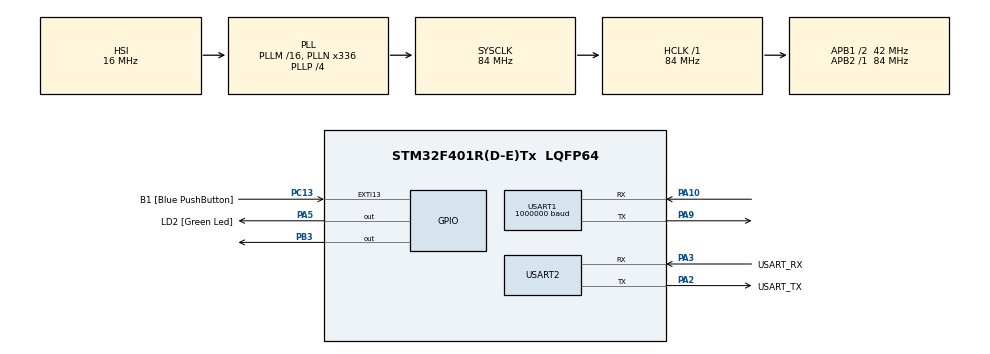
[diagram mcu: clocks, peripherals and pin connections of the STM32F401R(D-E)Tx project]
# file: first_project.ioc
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Mcu.Family=STM32F4
Mcu.Name=STM32F401R(D-E)Tx
Mcu.Package=LQFP64
NVIC.PriorityGroup=NVIC_PRIORITYGROUP_0
NVIC.USART2_IRQn=true\:0\:0\:false\:false\:true\:true\:true\:true
PA10.Mode=Asynchronous
PA10.Signal=USART1_RX
PA13.GPIO_Label=TMS
PA13.Mode=Serial_Wire
PA13.Signal=SYS_JTMS-SWDIO
PA14.GPIO_Label=TCK
PA14.Mode=Serial_Wire
PA14.Signal=SYS_JTCK-SWCLK
PA2.GPIO_Label=USART_TX
PA2.GPIO_Mode=GPIO_MODE_AF_PP
PA2.GPIO_PuPd=GPIO_NOPULL
PA2.GPIO_Speed=GPIO_SPEED_FREQ_LOW
PA2.Mode=Asynchronous
PA2.Signal=USART2_TX
PA3.GPIO_Label=USART_RX
PA3.GPIO_Mode=GPIO_MODE_AF_PP
PA3.GPIO_PuPd=GPIO_NOPULL
PA3.GPIO_Speed=GPIO_SPEED_FREQ_LOW
PA3.Mode=Asynchronous
PA3.Signal=USART2_RX
PA5.GPIO_Label=LD2 [Green Led]
PA5.GPIO_Mode=GPIO_MODE_OUTPUT_PP
PA5.GPIO_PuPd=GPIO_NOPULL
PA5.GPIO_Speed=GPIO_SPEED_FREQ_LOW
PA5.Signal=GPIO_Output
PA9.Mode=Asynchronous
PA9.Signal=USART1_TX
PB3.Signal=GPIO_Output
PC13-ANTI_TAMP.GPIO_Label=B1 [Blue PushButton]
PC13-ANTI_TAMP.GPIO_ModeDefaultEXTI=GPIO_MODE_IT_FALLING
PC13-ANTI_TAMP.GPIO_PuPd=GPIO_NOPULL
PC13-ANTI_TAMP.Signal=GPXTI13
PC14-OSC32_IN.Mode=LSE-External-Oscillator
PC14-OSC32_IN.Signal=RCC_OSC32_IN
PC15-OSC32_OUT.Mode=LSE-External-Oscillator
PC15-OSC32_OUT.Signal=RCC_OSC32_OUT
PH0\ -\ OSC_IN.Mode=HSE-External-Clock-Source
PH0\ -\ OSC_IN.Signal=RCC_OSC_IN
PH1\ -\ OSC_OUT.Mode=HSE-External-Clock-Source
PH1\ -\ OSC_OUT.Signal=RCC_OSC_OUT
ProjectManager.HeapSize=0x200
ProjectManager.StackSize=0x400
ProjectManager.TargetToolchain=STM32CubeIDE
RCC.48MHZClocksFreq_Value=48000000
RCC.AHBFreq_Value=84000000
RCC.APB1CLKDivider=RCC_HCLK_DIV2
RCC.APB1Freq_Value=42000000
RCC.APB1TimFreq_Value=84000000
RCC.APB2Freq_Value=84000000
RCC.APB2TimFreq_Value=84000000
RCC.CortexFreq_Value=84000000
RCC.HCLKFreq_Value=84000000
RCC.HSE_VALUE=8000000
RCC.HSI_VALUE=16000000
RCC.PLLN=336
RCC.PLLP=RCC_PLLP_DIV4
RCC.PLLQ=7
RCC.SYSCLKFreq_VALUE=84000000
RCC.SYSCLKSource=RCC_SYSCLKSOURCE_PLLCLK
RCC.VCOOutputFreq_Value=336000000
USART1.BaudRate=1000000
USART1.VirtualMode=VM_ASYNC
USART2.VirtualMode=VM_ASYNC
board=NUCLEO-F401RE

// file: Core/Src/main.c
/* USER CODE BEGIN Header */
/**
  ******************************************************************************
  * @file           : .c
  * @brief          :  program body
  ******************************************************************************
  * @attention
  *
  * Copyright (c) 2026 STMicroelectronics.
  * All rights reserved.
  *
  * This software is licensed under terms that can be found in the LICENSE file
  * in the root directory of this software component.
  * If no LICENSE file comes with this software, it is provided AS-IS.
  *
  ******************************************************************************
  */
/* USER CODE END Header */
#include "main.h"

/* USER CODE BEGIN Includes */
#include <stdio.h>
#include <string.h>
#include <stdlib.h>
#include <math.h>
/* USER CODE END Includes */

/* USER CODE BEGIN PD */
#define DXL_ID_1  1
#define DXL_ID_3  3
#define DXL_ID_5  5

#define DXL_ADDR_TORQUE_ENABLE   0x18
#define DXL_ADDR_GOAL_POSITION   0x1E
#define DXL_ADDR_MOVING_SPEED    0x20

// Measured neutral angles with enough travel in both directions.
#define ID1_NEUTRAL_DEG  125.10f
#define ID3_NEUTRAL_DEG  125.27f
#define ID5_NEUTRAL_DEG  123.51f

// Maximum platform command angle during normal ball control.
#define MAX_DELTA_DEG            5.0f

// Ignore small position errors near the target.
#define DEADZONE_X       8
#define DEADZONE_Y       8

// Change only the corresponding sign if an image axis is reversed.
#define SIGN_X           1.0f
#define SIGN_Y           1.0f

// Small fixed correction for the measured +X/-Y resting bias.
#define BALANCE_TRIM_X_DEG        0.25f
#define BALANCE_TRIM_Y_DEG       -0.30f

// Per-motor direction signs. Change only after a static direction test.
#define ID1_SIGN         1.0f
#define ID3_SIGN         1.0f
#define ID5_SIGN         1.0f

#define ID1_GAIN         1.20f
#define ID3_GAIN         1.25f
#define ID5_GAIN         1.45f
#define ID1_DOWN_GAIN    1.10f
#define ID3_DOWN_GAIN    0.98f

#define DXL_SPEED_VALUE          260
#define DXL_UPDATE_INTERVAL_MS   30
#define DXL_LOST_TIMEOUT_MS      500
#define DXL_SMOOTH_ALPHA         0.50f
#define DXL_MAX_STEP_DEG         0.60f
#define DXL_KICK_MAX_STEP_DEG    1.20f
#define DXL_CAPTURE_FAST_ALPHA   0.70f
#define DXL_CAPTURE_FAST_STEP_DEG 1.50f
#define DXL_STUCK_MAX_STEP_DEG   2.60f

// Normalize the virtual platform coordinates (radius 300) to about -1 to +1.
#define PD_ERROR_SCALE           300.0f
#define PD_KP_X                  7.2f
#define PD_KP_Y                  7.2f
#define PD_KD_X                  2.7f
#define PD_KD_Y                  2.1f
#define PD_DERIVATIVE_LIMIT      2500.0f
#define PD_D_FILTER_ALPHA        0.55f

#define PD_STATIC_THRESHOLD_X    80
#define PD_STATIC_THRESHOLD_Y    60
#define PD_STATIC_BOOST_X        1.2f
#define PD_STATIC_BOOST_Y        1.5f

#define PD_NEAR_ZONE              150
#define PD_NEAR_KP_SCALE          0.60f
#define PD_NEAR_KD_SCALE          1.40f
#define PD_NEAR_MAX_DELTA_DEG     4.8f
#define PD_FAR_MAX_DELTA_DEG      3.8f
#define PD_FAR_MED_SPEED          250.0f
#define PD_FAR_HIGH_SPEED         400.0f
#define PD_FAR_MED_KP_SCALE       0.80f
#define PD_FAR_HIGH_KP_SCALE      0.60f

#define PD_HOLD_ZONE              65
#define PD_HOLD_EXIT_ZONE         90
#define PD_HOLD_KP_SCALE          0.35f
#define PD_HOLD_KD_SCALE          0.90f
#define PD_HOLD_MAX_DELTA_DEG     2.0f
#define PD_HOLD_SPEED_DEADZONE    10.0f
#define PD_HOLD_DERIVATIVE_LIMIT  350.0f
#define PD_CAPTURE_FAST_ENTER_SPEED 95.0f
#define PD_CAPTURE_FAST_EXIT_SPEED  45.0f
#define PD_ZONE_FAST_BRAKE_SPEED  100.0f
#define PD_ZONE_APPROACH_BRAKE_SPEED 60.0f

#define PD_BRAKE_ZONE             235.0f
#define PD_BRAKE_MIN_SPEED        55.0f
#define PD_EARLY_BRAKE_SPEED      150.0f
#define PD_BRAKE_KP_SCALE         0.28f
#define PD_BRAKE_KD_SCALE         2.45f
#define PD_BRAKE_MAX_DELTA_DEG    5.0f
#define PD_ESCAPE_SPEED           140.0f
#define PD_ESCAPE_KP_SCALE        0.38f
#define PD_ESCAPE_KD_SCALE        1.45f
#define PD_ESCAPE_MAX_DELTA_DEG   4.4f
#define PD_CAPTURE_BRAKE_KP_SCALE 0.12f
#define PD_CAPTURE_BRAKE_KD_SCALE 2.05f
#define PD_CAPTURE_BRAKE_MAX_DEG  4.0f
#define STUCK_TIME_MS             900U
#define STUCK_SPEED_THRESHOLD     45.0f
#define STUCK_MOVE_THRESHOLD      14.0f
// Start stuck detection immediately outside the target zone.
#define STUCK_MIN_ERROR           58.0f
#define STUCK_NEAR_ERROR          85.0f
#define STUCK_FAR_ERROR           150.0f
#define STUCK_KICK_NEAR_DEG       7.6f
#define STUCK_KICK_DEG            8.0f
#define STUCK_KICK_FAR_DEG        8.8f
#define STUCK_MAX_DELTA_DEG       8.8f
#define STUCK_KICK_MS             350U
#define STUCK_COOLDOWN_MS         1000U
#define STUCK_RETURN_MS           220U

#define DEG_TO_RAD              0.01745329252f
#define RAD_TO_DEG              57.295779513f
#define IK_BASE_RADIUS_MM       58.0f
#define IK_PLATFORM_HEIGHT_MM   105.0f
#define IK_PLATFORM_RADIUS_MM   75.0f
#define IK_ARM_LENGTH_MM        83.0f
#define IK_ROD_LENGTH_MM        88.0f
#define IK_OUTPUT_SIGN         -1.0f
#define IK_ID1_ANGLE_DEG       150.0f
#define IK_ID3_ANGLE_DEG       -90.0f
#define IK_ID5_ANGLE_DEG        30.0f

/* USER CODE END PD */

UART_HandleTypeDef huart1;
UART_HandleTypeDef huart2;

/* USER CODE BEGIN PV */

float smooth_deg1 = ID1_NEUTRAL_DEG;
float smooth_deg3 = ID3_NEUTRAL_DEG;
float smooth_deg5 = ID5_NEUTRAL_DEG;

uint8_t rx_byte;              // One byte received from UART2.
char rx_buffer[50];           // Buffer for one PC command line.
uint8_t rx_index = 0;         // Current receive-buffer index.

volatile int ball_ex = 0;
volatile int ball_ey = 0;
volatile int ball_valid = 0;

volatile uint8_t new_data_flag = 0;

uint16_t dxl_pos1 = 0;
uint16_t dxl_pos3 = 0;
uint16_t dxl_pos5 = 0;

float target_deg1 = ID1_NEUTRAL_DEG;
float target_deg3 = ID3_NEUTRAL_DEG;
float target_deg5 = ID5_NEUTRAL_DEG;

uint32_t last_dxl_update_time = 0;
uint32_t last_rx_time = 0;
uint32_t last_log_time = 0;

int pd_prev_ex = 0;
int pd_prev_ey = 0;
uint32_t pd_prev_time = 0;
uint8_t pd_has_prev = 0;
uint8_t pd_d_filter_ready = 0;
float pd_filtered_dex_dt = 0.0f;
float pd_filtered_dey_dt = 0.0f;
uint8_t pd_capture_active = 0;
uint8_t pd_capture_fast_motion = 0;

uint8_t stuck_has_ref = 0;
int stuck_ref_ex = 0;
int stuck_ref_ey = 0;
uint32_t stuck_ref_time = 0;
uint32_t stuck_slow_start_time = 0;
uint32_t stuck_kick_until = 0;
uint32_t stuck_return_until = 0;
uint32_t stuck_cooldown_until = 0;
uint8_t stuck_kick_active = 0;

int dbg_cmd_x10 = 0;
int dbg_cmd_y10 = 0;
int dbg_d1_10 = 0;
int dbg_d3_10 = 0;
int dbg_d5_10 = 0;
int dbg_speed = 0;
int dbg_approach_speed = 0;
int dbg_p_x10 = 0;
int dbg_p_y10 = 0;
int dbg_d_x10 = 0;
int dbg_d_y10 = 0;
int dbg_cmd_limit_x10 = 0;
int dbg_p_scale_percent = 100;
uint8_t dbg_control_state = 0;
uint8_t dbg_cmd_saturated = 0;

/* USER CODE END PV */

void SystemClock_Config(void);
static void MX_GPIO_Init(void);
static void MX_USART2_UART_Init(void);
static void MX_USART1_UART_Init(void);

/* USER CODE BEGIN 0 */
float clamp_float(float value, float min_value, float max_value)
{
    if (value < min_value) return min_value;
    if (value > max_value) return max_value;
    return value;
}

uint8_t limit_vector_magnitude(float *x, float *y, float max_magnitude)
{
    float magnitude = sqrtf((*x * *x) + (*y * *y));
    if (magnitude <= max_magnitude || magnitude < 0.0001f)
    {
        return 0;
    }

    float scale = max_magnitude / magnitude;
    *x *= scale;
    *y *= scale;
    return 1;
}

uint16_t deg_to_dxl_pos(float deg)
{
    deg = clamp_float(deg, 0.0f, 300.0f);
    return (uint16_t)((deg / 300.0f) * 1023.0f + 0.5f);
}

float IK_SolveArmAngleDeg(float radial_mm, float z_mm)
{
    float r = sqrtf(radial_mm * radial_mm + z_mm * z_mm);
    if (r < 1.0f) return 0.0f;

    float c = (radial_mm * radial_mm + z_mm * z_mm +
               IK_ARM_LENGTH_MM * IK_ARM_LENGTH_MM -
               IK_ROD_LENGTH_MM * IK_ROD_LENGTH_MM) / (2.0f * IK_ARM_LENGTH_MM);
    float ratio = clamp_float(c / r, -1.0f, 1.0f);
    float alpha = atan2f(z_mm, radial_mm);
    float beta = acosf(ratio);

    return (alpha - beta) * RAD_TO_DEG;
}

float IK_LegDeltaDeg(float leg_angle_deg, float pitch_deg, float roll_deg)
{
    float leg_rad = leg_angle_deg * DEG_TO_RAD;
    float ux = cosf(leg_rad);
    float uy = sinf(leg_rad);

    float px = IK_PLATFORM_RADIUS_MM * ux;
    float py = IK_PLATFORM_RADIUS_MM * uy;

    float roll = roll_deg * DEG_TO_RAD;
    float pitch = pitch_deg * DEG_TO_RAD;
    float cr = cosf(roll);
    float sr = sinf(roll);
    float cp = cosf(pitch);
    float sp = sinf(pitch);

    float x1 = px;
    float y1 = cr * py;
    float z1 = sr * py;

    float x2 = cp * x1 + sp * z1;
    float y2 = y1;
    float z2 = -sp * x1 + cp * z1;

    float bx = IK_BASE_RADIUS_MM * ux;
    float by = IK_BASE_RADIUS_MM * uy;
    float radial = (x2 - bx) * ux + (y2 - by) * uy;
    float z = IK_PLATFORM_HEIGHT_MM + z2;

    float home_radial = IK_PLATFORM_RADIUS_MM - IK_BASE_RADIUS_MM;
    float home_angle = IK_SolveArmAngleDeg(home_radial, IK_PLATFORM_HEIGHT_MM);
    float target_angle = IK_SolveArmAngleDeg(radial, z);

    return IK_OUTPUT_SIGN * (target_angle - home_angle);
}

void IK_ComputeMotorDeltas(float cmd_x_deg, float cmd_y_deg, float *d1, float *d3, float *d5)
{
    float pitch_deg = -cmd_x_deg;
    float roll_deg = cmd_y_deg;

    *d1 = IK_LegDeltaDeg(IK_ID1_ANGLE_DEG, pitch_deg, roll_deg);
    *d3 = IK_LegDeltaDeg(IK_ID3_ANGLE_DEG, pitch_deg, roll_deg);
    *d5 = IK_LegDeltaDeg(IK_ID5_ANGLE_DEG, pitch_deg, roll_deg);
}

void DXL_SendPacket(uint8_t *packet, uint8_t length)
{
    // PB3 controls the 74HC126 bus direction.
    // HIGH: STM32 transmits to the Dynamixel bus.
    HAL_GPIO_WritePin(GPIOB, GPIO_PIN_3, GPIO_PIN_SET);
    HAL_Delay(1);

    HAL_UART_Transmit(&huart1, packet, length, 100);

    HAL_Delay(1);

    // LOW: return the bus to receive mode.
    HAL_GPIO_WritePin(GPIOB, GPIO_PIN_3, GPIO_PIN_RESET);
    HAL_Delay(1);
}

void DXL_WriteByte(uint8_t id, uint8_t address, uint8_t value)
{
    uint8_t packet[8];

    uint8_t length = 4;   // Protocol length field: parameter count + 2.
    uint8_t instruction = 0x03; // WRITE

    packet[0] = 0xFF;
    packet[1] = 0xFF;
    packet[2] = id;
    packet[3] = length;
    packet[4] = instruction;
    packet[5] = address;
    packet[6] = value;

    uint8_t sum = id + length + instruction + address + value;
    packet[7] = ~sum;

    DXL_SendPacket(packet, 8);
}

void DXL_WriteWord(uint8_t id, uint8_t address, uint16_t value)
{
    uint8_t packet[9];

    uint8_t length = 5;
    uint8_t instruction = 0x03; // WRITE
    uint8_t value_l = value & 0xFF;
    uint8_t value_h = (value >> 8) & 0xFF;

    packet[0] = 0xFF;
    packet[1] = 0xFF;
    packet[2] = id;
    packet[3] = length;
    packet[4] = instruction;
    packet[5] = address;
    packet[6] = value_l;
    packet[7] = value_h;

    uint8_t sum = id + length + instruction + address + value_l + value_h;
    packet[8] = ~sum;

    DXL_SendPacket(packet, 9);
}

void DXL_TorqueEnable(uint8_t id)
{
    DXL_WriteByte(id, DXL_ADDR_TORQUE_ENABLE, 1);
}

void DXL_SetSpeed(uint8_t id, uint16_t speed)
{
    // AX-12A moving-speed range is 0 to 1023.
    // DXL_SPEED_VALUE limits the commanded motor speed.
    DXL_WriteWord(id, DXL_ADDR_MOVING_SPEED, speed);
}

void DXL_SetGoalPosition(uint8_t id, uint16_t position)
{
    if (position > 1023) position = 1023;
    DXL_WriteWord(id, DXL_ADDR_GOAL_POSITION, position);
}

void DXL_MoveToNeutral(void)
{
    target_deg1 = ID1_NEUTRAL_DEG;
    target_deg3 = ID3_NEUTRAL_DEG;
    target_deg5 = ID5_NEUTRAL_DEG;

    smooth_deg1 = target_deg1;
    smooth_deg3 = target_deg3;
    smooth_deg5 = target_deg5;

    dxl_pos1 = deg_to_dxl_pos(target_deg1);
    dxl_pos3 = deg_to_dxl_pos(target_deg3);
    dxl_pos5 = deg_to_dxl_pos(target_deg5);

    DXL_SetGoalPosition(DXL_ID_1, dxl_pos1);
    DXL_SetGoalPosition(DXL_ID_3, dxl_pos3);
    DXL_SetGoalPosition(DXL_ID_5, dxl_pos5);

    pd_has_prev = 0;
    pd_d_filter_ready = 0;
    pd_filtered_dex_dt = 0.0f;
    pd_filtered_dey_dt = 0.0f;
    pd_capture_active = 0;
    pd_capture_fast_motion = 0;
    pd_prev_ex = 0;
    pd_prev_ey = 0;
    pd_prev_time = HAL_GetTick();
}

void DXL_ControlFromBall(int ex, int ey, int valid)
{
    float cmd_x = 0.0f;
    float cmd_y = 0.0f;
    uint32_t now = HAL_GetTick();

    if (valid == 1)
    {
        int p_ex = ex;
        int p_ey = ey;
        float dt = (float)DXL_UPDATE_INTERVAL_MS / 1000.0f;
        float dex_dt = 0.0f;
        float dey_dt = 0.0f;

        if (p_ex > -DEADZONE_X && p_ex < DEADZONE_X) p_ex = 0;
        if (p_ey > -DEADZONE_Y && p_ey < DEADZONE_Y) p_ey = 0;

        if (pd_has_prev == 1)
        {
            uint32_t elapsed_ms = now - pd_prev_time;
            if (elapsed_ms > 0)
            {
                dt = (float)elapsed_ms / 1000.0f;
            }

            float raw_dex_dt = ((float)(ex - pd_prev_ex)) / dt;
            float raw_dey_dt = ((float)(ey - pd_prev_ey)) / dt;
            raw_dex_dt = clamp_float(raw_dex_dt, -PD_DERIVATIVE_LIMIT, PD_DERIVATIVE_LIMIT);
            raw_dey_dt = clamp_float(raw_dey_dt, -PD_DERIVATIVE_LIMIT, PD_DERIVATIVE_LIMIT);

            if (pd_d_filter_ready == 0)
            {
                pd_filtered_dex_dt = raw_dex_dt;
                pd_filtered_dey_dt = raw_dey_dt;
                pd_d_filter_ready = 1;
            }
            else
            {
                pd_filtered_dex_dt += PD_D_FILTER_ALPHA *
                                      (raw_dex_dt - pd_filtered_dex_dt);
                pd_filtered_dey_dt += PD_D_FILTER_ALPHA *
                                      (raw_dey_dt - pd_filtered_dey_dt);
            }

            dex_dt = pd_filtered_dex_dt;
            dey_dt = pd_filtered_dey_dt;
        }

        pd_prev_ex = ex;
        pd_prev_ey = ey;
        pd_prev_time = now;
        pd_has_prev = 1;

        float ball_speed = sqrtf(dex_dt * dex_dt + dey_dt * dey_dt);
        float error_radius = sqrtf((float)p_ex * (float)p_ex + (float)p_ey * (float)p_ey);
        float radial_speed = 0.0f;
        if (error_radius > 1.0f)
        {
            radial_speed = ((float)p_ex * dex_dt + (float)p_ey * dey_dt) / error_radius;
        }
        float approach_speed = -radial_speed;
        float kp_scale = 1.0f;
        float kd_scale = 1.0f;
        float cmd_limit = PD_FAR_MAX_DELTA_DEG;
        float far_speed_kp_scale = 1.0f;
        uint8_t near_target = 0;
        dbg_control_state = 0;
        if ((p_ex > -PD_NEAR_ZONE && p_ex < PD_NEAR_ZONE) &&
            (p_ey > -PD_NEAR_ZONE && p_ey < PD_NEAR_ZONE))
        {
            near_target = 1;
            dbg_control_state = 1;
            kp_scale = PD_NEAR_KP_SCALE;
            kd_scale = PD_NEAR_KD_SCALE;
            cmd_limit = PD_NEAR_MAX_DELTA_DEG;
        }

        if ((error_radius <= PD_BRAKE_ZONE &&
             approach_speed >= PD_BRAKE_MIN_SPEED) ||
            approach_speed >= PD_EARLY_BRAKE_SPEED)
        {
            near_target = 1;
            dbg_control_state = 2;
            kp_scale = PD_BRAKE_KP_SCALE;
            kd_scale = PD_BRAKE_KD_SCALE;
            cmd_limit = PD_BRAKE_MAX_DELTA_DEG;
        }
        else if ((ball_speed >= PD_ZONE_FAST_BRAKE_SPEED) &&
                 (approach_speed <= -PD_ESCAPE_SPEED))
        {
            near_target = 1;
            dbg_control_state = 2;
            kp_scale = PD_ESCAPE_KP_SCALE;
            kd_scale = PD_ESCAPE_KD_SCALE;
            cmd_limit = PD_ESCAPE_MAX_DELTA_DEG;
        }

        int error_r2 = p_ex * p_ex + p_ey * p_ey;
        if (pd_capture_active != 0)
        {
            if (error_r2 >= (PD_HOLD_EXIT_ZONE * PD_HOLD_EXIT_ZONE))
            {
                pd_capture_active = 0;
            }
        }
        else if (error_r2 <= (PD_HOLD_ZONE * PD_HOLD_ZONE))
        {
            pd_capture_active = 1;
        }

        if (pd_capture_active != 0)
        {
            if (pd_capture_fast_motion != 0)
            {
                if (ball_speed <= PD_CAPTURE_FAST_EXIT_SPEED)
                {
                    pd_capture_fast_motion = 0;
                }
            }
            else if (ball_speed >= PD_CAPTURE_FAST_ENTER_SPEED)
            {
                pd_capture_fast_motion = 1;
            }

            near_target = 1;
            if (approach_speed >= PD_ZONE_APPROACH_BRAKE_SPEED ||
                ball_speed >= PD_ZONE_FAST_BRAKE_SPEED ||
                pd_capture_fast_motion != 0)
            {
                dbg_control_state = 3;
                kp_scale = PD_CAPTURE_BRAKE_KP_SCALE;
                kd_scale = PD_CAPTURE_BRAKE_KD_SCALE;
                cmd_limit = PD_CAPTURE_BRAKE_MAX_DEG;
            }
            else if (error_r2 <= (PD_HOLD_ZONE * PD_HOLD_ZONE))
            {
                dbg_control_state = 4;
                kp_scale = PD_HOLD_KP_SCALE;
                kd_scale = PD_HOLD_KD_SCALE;
                cmd_limit = PD_HOLD_MAX_DELTA_DEG;
            }
            dex_dt = clamp_float(dex_dt, -PD_HOLD_DERIVATIVE_LIMIT, PD_HOLD_DERIVATIVE_LIMIT);
            dey_dt = clamp_float(dey_dt, -PD_HOLD_DERIVATIVE_LIMIT, PD_HOLD_DERIVATIVE_LIMIT);
            if (ball_speed < PD_HOLD_SPEED_DEADZONE)
            {
                dex_dt = 0.0f;
                dey_dt = 0.0f;
            }
        }
        else
        {
            pd_capture_fast_motion = 0;
        }

        // Reduce only the far-field P drive when the ball already has momentum.
        // D damping keeps the full 3.8-degree far-field command limit.
        if (near_target == 0)
        {
            if (ball_speed >= PD_FAR_HIGH_SPEED)
            {
                far_speed_kp_scale = PD_FAR_HIGH_KP_SCALE;
            }
            else if (ball_speed >= PD_FAR_MED_SPEED)
            {
                far_speed_kp_scale = PD_FAR_MED_KP_SCALE;
            }
        }

        float norm_ex = (float)p_ex / PD_ERROR_SCALE;
        float norm_ey = (float)p_ey / PD_ERROR_SCALE;
        float norm_dex_dt = dex_dt / PD_ERROR_SCALE;
        float norm_dey_dt = dey_dt / PD_ERROR_SCALE;
        float p_term_x = (PD_KP_X * kp_scale * far_speed_kp_scale) * norm_ex;
        float p_term_y = (PD_KP_Y * kp_scale * far_speed_kp_scale) * norm_ey;
        float d_term_x = (PD_KD_X * kd_scale) * norm_dex_dt;
        float d_term_y = (PD_KD_Y * kd_scale) * norm_dey_dt;

        cmd_x = p_term_x + d_term_x;
        cmd_y = p_term_y + d_term_y;
        dbg_p_x10 = (int)(p_term_x * 10.0f);
        dbg_p_y10 = (int)(p_term_y * 10.0f);
        dbg_d_x10 = (int)(d_term_x * 10.0f);
        dbg_d_y10 = (int)(d_term_y * 10.0f);

        if (near_target == 0 && ball_speed < PD_FAR_MED_SPEED)
        {
            if (p_ex > PD_STATIC_THRESHOLD_X) cmd_x += PD_STATIC_BOOST_X;
            else if (p_ex < -PD_STATIC_THRESHOLD_X) cmd_x -= PD_STATIC_BOOST_X;

            if (p_ey > PD_STATIC_THRESHOLD_Y) cmd_y += PD_STATIC_BOOST_Y;
            else if (p_ey < -PD_STATIC_THRESHOLD_Y) cmd_y -= PD_STATIC_BOOST_Y;
        }

        dbg_cmd_saturated = limit_vector_magnitude(&cmd_x, &cmd_y, cmd_limit);
        dbg_speed = (int)ball_speed;
        dbg_approach_speed = (int)approach_speed;
        dbg_cmd_limit_x10 = (int)(cmd_limit * 10.0f);
        dbg_p_scale_percent = (int)(far_speed_kp_scale * 100.0f);

        cmd_x *= SIGN_X;
        cmd_y *= SIGN_Y;

        cmd_x += BALANCE_TRIM_X_DEG;
        cmd_y += BALANCE_TRIM_Y_DEG;
        limit_vector_magnitude(&cmd_x, &cmd_y, MAX_DELTA_DEG);
        dbg_cmd_x10 = (int)(cmd_x * 10.0f);
        dbg_cmd_y10 = (int)(cmd_y * 10.0f);

        float d1 = 0.0f;
        float d3 = 0.0f;
        float d5 = 0.0f;
        IK_ComputeMotorDeltas(cmd_x, cmd_y, &d1, &d3, &d5);

        uint8_t outside_hold_zone = ((float)(ex * ex + ey * ey) > (STUCK_MIN_ERROR * STUCK_MIN_ERROR));
        stuck_kick_active = (now < stuck_kick_until) ? 1 : 0;

        if (outside_hold_zone != 0)
        {
            float ref_move = sqrtf((float)((ex - stuck_ref_ex) * (ex - stuck_ref_ex) +
                                           (ey - stuck_ref_ey) * (ey - stuck_ref_ey)));
            uint8_t slow_outside = (ball_speed <= STUCK_SPEED_THRESHOLD) ? 1 : 0;
            if (stuck_has_ref == 0)
            {
                stuck_has_ref = 1;
                stuck_ref_ex = ex;
                stuck_ref_ey = ey;
                stuck_ref_time = now;
                stuck_slow_start_time = slow_outside ? now : 0;
            }
            else if ((ref_move > STUCK_MOVE_THRESHOLD) &&
                     (slow_outside == 0))
            {
                stuck_ref_ex = ex;
                stuck_ref_ey = ey;
                stuck_ref_time = now;
                stuck_slow_start_time = 0;
                stuck_kick_until = 0;
                stuck_kick_active = 0;
            }
            else if (slow_outside != 0)
            {
                if (stuck_slow_start_time == 0)
                {
                    stuck_slow_start_time = now;
                }
                if (((now - stuck_slow_start_time >= STUCK_TIME_MS) ||
                     (now - stuck_ref_time >= STUCK_TIME_MS)) &&
                    (now >= stuck_cooldown_until))
                {
                    stuck_kick_until = now + STUCK_KICK_MS;
                    stuck_return_until = stuck_kick_until + STUCK_RETURN_MS;
                    stuck_cooldown_until = stuck_return_until + STUCK_COOLDOWN_MS;
                    stuck_kick_active = 1;
                    stuck_ref_ex = ex;
                    stuck_ref_ey = ey;
                    stuck_ref_time = now;
                    stuck_slow_start_time = now;
                }
            }
            else if ((now - stuck_ref_time >= STUCK_TIME_MS) &&
                     (now >= stuck_cooldown_until))
            {
                stuck_kick_until = now + STUCK_KICK_MS;
                stuck_return_until = stuck_kick_until + STUCK_RETURN_MS;
                stuck_cooldown_until = stuck_return_until + STUCK_COOLDOWN_MS;
                stuck_kick_active = 1;
                stuck_ref_ex = ex;
                stuck_ref_ey = ey;
                stuck_ref_time = now;
                stuck_slow_start_time = 0;
            }
        }
        else
        {
            stuck_has_ref = 0;
            stuck_slow_start_time = 0;
            stuck_kick_active = 0;
            stuck_kick_until = 0;
        }

        if (stuck_kick_active != 0)
        {
            float mag = sqrtf((float)(ex * ex + ey * ey));
            if (mag > 1.0f)
            {
                float stuck_kick_deg = STUCK_KICK_DEG;
                if (mag < STUCK_NEAR_ERROR)
                {
                    stuck_kick_deg = STUCK_KICK_NEAR_DEG;
                }
                else if (mag > STUCK_FAR_ERROR)
                {
                    stuck_kick_deg = STUCK_KICK_FAR_DEG;
                }

                float kick_x = stuck_kick_deg * (float)ex / mag;
                float kick_y = stuck_kick_deg * (float)ey / mag;

                // Keep the auxiliary bump in the same roll/pitch -> IK path.
                IK_ComputeMotorDeltas(kick_x, kick_y, &d1, &d3, &d5);
            }
        }
        // Apply the calibrated motor gains to both normal IK and stuck-bump IK.
        d1 = d1 * ID1_GAIN;
        if (d1 > 0.0f)
        {
            d1 = d1 * ID1_DOWN_GAIN;
        }
        d3 = d3 * ID3_GAIN;
        if (d3 > 0.0f)
        {
            d3 = d3 * ID3_DOWN_GAIN;
        }
        d5 = d5 * ID5_GAIN;

        float motor_delta_limit = (stuck_kick_active != 0) ?
                                  STUCK_MAX_DELTA_DEG : MAX_DELTA_DEG;
        d1 = clamp_float(d1, -motor_delta_limit, motor_delta_limit);
        d3 = clamp_float(d3, -motor_delta_limit, motor_delta_limit);
        d5 = clamp_float(d5, -motor_delta_limit, motor_delta_limit);

        dbg_d1_10 = (int)(d1 * 10.0f);
        dbg_d3_10 = (int)(d3 * 10.0f);
        dbg_d5_10 = (int)(d5 * 10.0f);

        target_deg1 = ID1_NEUTRAL_DEG + ID1_SIGN * d1;
        target_deg3 = ID3_NEUTRAL_DEG + ID3_SIGN * d3;
        target_deg5 = ID5_NEUTRAL_DEG + ID5_SIGN * d5;
    }
    else
    {
        pd_has_prev = 0;
        pd_d_filter_ready = 0;
        pd_filtered_dex_dt = 0.0f;
        pd_filtered_dey_dt = 0.0f;
        pd_prev_ex = 0;
        pd_prev_ey = 0;
        pd_prev_time = now;
        pd_capture_active = 0;
        pd_capture_fast_motion = 0;
        stuck_has_ref = 0;
        stuck_kick_active = 0;
        stuck_kick_until = 0;
        stuck_return_until = 0;
        stuck_slow_start_time = 0;

        target_deg1 = ID1_NEUTRAL_DEG;
        target_deg3 = ID3_NEUTRAL_DEG;
        target_deg5 = ID5_NEUTRAL_DEG;
        dbg_cmd_x10 = 0;
        dbg_cmd_y10 = 0;
        dbg_d1_10 = 0;
        dbg_d3_10 = 0;
        dbg_d5_10 = 0;
        dbg_speed = 0;
        dbg_approach_speed = 0;
        dbg_p_x10 = 0;
        dbg_p_y10 = 0;
        dbg_d_x10 = 0;
        dbg_d_y10 = 0;
        dbg_cmd_limit_x10 = 0;
        dbg_p_scale_percent = 100;
        dbg_control_state = 0;
        dbg_cmd_saturated = 0;
    }

    target_deg1 = clamp_float(target_deg1, 0.0f, 300.0f);
    target_deg3 = clamp_float(target_deg3, 0.0f, 300.0f);
    target_deg5 = clamp_float(target_deg5, 0.0f, 300.0f);
    float dxl_smooth_alpha = (pd_capture_fast_motion != 0) ?
                             DXL_CAPTURE_FAST_ALPHA : DXL_SMOOTH_ALPHA;
    float next_deg1 = smooth_deg1 + dxl_smooth_alpha * (target_deg1 - smooth_deg1);
    float next_deg3 = smooth_deg3 + dxl_smooth_alpha * (target_deg3 - smooth_deg3);
    float next_deg5 = smooth_deg5 + dxl_smooth_alpha * (target_deg5 - smooth_deg5);
    float dxl_step_limit;
    if ((stuck_kick_active != 0) || (now < stuck_return_until))
    {
        dxl_step_limit = DXL_STUCK_MAX_STEP_DEG;
    }
    else if (pd_capture_fast_motion != 0)
    {
        dxl_step_limit = DXL_CAPTURE_FAST_STEP_DEG;
    }
    else if (pd_capture_active == 0)
    {
        dxl_step_limit = DXL_KICK_MAX_STEP_DEG;
    }
    else
    {
        dxl_step_limit = DXL_MAX_STEP_DEG;
    }
    smooth_deg1 += clamp_float(next_deg1 - smooth_deg1, -dxl_step_limit, dxl_step_limit);
    smooth_deg3 += clamp_float(next_deg3 - smooth_deg3, -dxl_step_limit, dxl_step_limit);
    smooth_deg5 += clamp_float(next_deg5 - smooth_deg5, -dxl_step_limit, dxl_step_limit);

    dxl_pos1 = deg_to_dxl_pos(smooth_deg1);
    dxl_pos3 = deg_to_dxl_pos(smooth_deg3);
    dxl_pos5 = deg_to_dxl_pos(smooth_deg5);

    DXL_SetGoalPosition(DXL_ID_1, dxl_pos1);
    DXL_SetGoalPosition(DXL_ID_3, dxl_pos3);
    DXL_SetGoalPosition(DXL_ID_5, dxl_pos5);
}

void HAL_UART_RxCpltCallback(UART_HandleTypeDef *huart)
{
    if (huart->Instance == USART2)
    {
        // A newline terminates one command received from the PC.
        if (rx_byte == '\n')
        {
            rx_buffer[rx_index] = '\0';  // Terminate the received string.

            // Accept "ex,ey,valid".
            int parsed_ex = 0;
            int parsed_ey = 0;
            int parsed_valid = 0;
            int parsed_count = sscanf(rx_buffer, "%d,%d,%d",
                                      &parsed_ex, &parsed_ey, &parsed_valid);

            if (parsed_count == 3)
            {
                if (parsed_valid != 0) parsed_valid = 1;

                ball_ex = parsed_ex;
                ball_ey = parsed_ey;
                ball_valid = parsed_valid;
                new_data_flag = 1;
            }

            // Clear the buffer after processing the complete command.
            rx_index = 0;
            memset(rx_buffer, 0, sizeof(rx_buffer));
        }
        else
        {
            // Store the byte while space remains in the buffer.
            if (rx_index < sizeof(rx_buffer) - 1)
            {
                rx_buffer[rx_index++] = rx_byte;
            }
            else
            {
                // Discard an oversized command and reset the buffer.
                rx_index = 0;
                memset(rx_buffer, 0, sizeof(rx_buffer));
            }
        }

        // Arm the interrupt for the next UART2 byte.
        HAL_UART_Receive_IT(&huart2, &rx_byte, 1);
    }
}

/* USER CODE END 0 */

int main(void)
{

  /* MCU Configuration--------------------------------------------------------*/

  /* Reset of all peripherals, Initializes the Flash interface and the Systick. */
  HAL_Init();

  /* Configure the system clock */
  SystemClock_Config();

  /* Initialize all configured peripherals */
  MX_GPIO_Init();
  MX_USART2_UART_Init();
  MX_USART1_UART_Init();
  /* USER CODE BEGIN 2 */

  // Start interrupt-driven reception from the PC on USART2.
  HAL_UART_Receive_IT(&huart2, &rx_byte, 1);

  char start_msg[] = "STM UART Receive Start\r\n";
  HAL_UART_Transmit(&huart2, (uint8_t*)start_msg, strlen(start_msg), 100);

  // Initialize the Dynamixel motors.
  HAL_Delay(1000);

  DXL_TorqueEnable(DXL_ID_1);
  DXL_TorqueEnable(DXL_ID_3);
  DXL_TorqueEnable(DXL_ID_5);

  HAL_Delay(100);

  DXL_SetSpeed(DXL_ID_1, DXL_SPEED_VALUE);
  DXL_SetSpeed(DXL_ID_3, DXL_SPEED_VALUE);
  DXL_SetSpeed(DXL_ID_5, DXL_SPEED_VALUE);

  HAL_Delay(100);

  // Start at configured neutral angles.
  DXL_MoveToNeutral();
  last_dxl_update_time = HAL_GetTick();
  last_rx_time = HAL_GetTick();

  HAL_Delay(1000);

  char dxl_msg[] = "Dynamixel Init Done\r\n";
  HAL_UART_Transmit(&huart2, (uint8_t*)dxl_msg, strlen(dxl_msg), 100);

  /* USER CODE END 2 */

  /* Infinite loop */
  while (1)
  {

    /* USER CODE BEGIN 3 */
      uint32_t now = HAL_GetTick();

      if (new_data_flag == 1)
      {
          int local_ex;
          int local_ey;
          int local_valid;

          __disable_irq();
          local_ex = ball_ex;
          local_ey = ball_ey;
          local_valid = ball_valid;
          new_data_flag = 0;
          __enable_irq();

          last_rx_time = now;

          if (local_valid == 1)
          {
              HAL_GPIO_TogglePin(LD2_GPIO_Port, LD2_Pin);
          }

          if (now - last_dxl_update_time >= DXL_UPDATE_INTERVAL_MS)
          {
              DXL_ControlFromBall(local_ex, local_ey, local_valid);
              last_dxl_update_time = now;
          }

          if (now - last_log_time >= 100U)
          {
              char msg[220];
              snprintf(msg, sizeof(msg),
                       "CTRL e=%d,%d st=%u v=%d ap=%d ps=%d P=%d,%d D=%d,%d C=%d,%d lim=%d sat=%u kick=%u M=%d,%d,%d\r\n",
                       local_ex, local_ey, dbg_control_state,
                       dbg_speed, dbg_approach_speed, dbg_p_scale_percent,
                       dbg_p_x10, dbg_p_y10,
                       dbg_d_x10, dbg_d_y10,
                       dbg_cmd_x10, dbg_cmd_y10,
                       dbg_cmd_limit_x10,
                       dbg_cmd_saturated, stuck_kick_active,
                       dbg_d1_10, dbg_d3_10, dbg_d5_10);
              HAL_UART_Transmit(&huart2, (uint8_t*)msg, strlen(msg), 100);
              last_log_time = now;
          }
      }
      else if (now - last_rx_time >= DXL_LOST_TIMEOUT_MS &&
               now - last_dxl_update_time >= DXL_UPDATE_INTERVAL_MS)
      {
          DXL_ControlFromBall(0, 0, 0);
          last_dxl_update_time = now;
      }

  }
  /* USER CODE END 3 */
  }

void SystemClock_Config(void)
{
  RCC_OscInitTypeDef RCC_OscInitStruct = {0};
  RCC_ClkInitTypeDef RCC_ClkInitStruct = {0};

  /** Configure the main internal regulator output voltage
  */
  __HAL_RCC_PWR_CLK_ENABLE();
  __HAL_PWR_VOLTAGESCALING_CONFIG(PWR_REGULATOR_VOLTAGE_SCALE2);

  /** Initializes the RCC Oscillators according to the specified parameters
  * in the RCC_OscInitTypeDef structure.
  */
  RCC_OscInitStruct.OscillatorType = RCC_OSCILLATORTYPE_HSI;
  RCC_OscInitStruct.HSIState = RCC_HSI_ON;
  RCC_OscInitStruct.HSICalibrationValue = RCC_HSICALIBRATION_DEFAULT;
  RCC_OscInitStruct.PLL.PLLState = RCC_PLL_ON;
  RCC_OscInitStruct.PLL.PLLSource = RCC_PLLSOURCE_HSI;
  RCC_OscInitStruct.PLL.PLLM = 16;
  RCC_OscInitStruct.PLL.PLLN = 336;
  RCC_OscInitStruct.PLL.PLLP = RCC_PLLP_DIV4;
  RCC_OscInitStruct.PLL.PLLQ = 7;
  if (HAL_RCC_OscConfig(&RCC_OscInitStruct) != HAL_OK)
  {
    Error_Handler();
  }

  /** Initializes the CPU, AHB and APB buses clocks
  */
  RCC_ClkInitStruct.ClockType = RCC_CLOCKTYPE_HCLK|RCC_CLOCKTYPE_SYSCLK
                              |RCC_CLOCKTYPE_PCLK1|RCC_CLOCKTYPE_PCLK2;
  RCC_ClkInitStruct.SYSCLKSource = RCC_SYSCLKSOURCE_PLLCLK;
  RCC_ClkInitStruct.AHBCLKDivider = RCC_SYSCLK_DIV1;
  RCC_ClkInitStruct.APB1CLKDivider = RCC_HCLK_DIV2;
  RCC_ClkInitStruct.APB2CLKDivider = RCC_HCLK_DIV1;

  if (HAL_RCC_ClockConfig(&RCC_ClkInitStruct, FLASH_LATENCY_2) != HAL_OK)
  {
    Error_Handler();
  }
}

static void MX_USART1_UART_Init(void)
{

  huart1.Instance = USART1;
  huart1.Init.BaudRate = 1000000;
  huart1.Init.WordLength = UART_WORDLENGTH_8B;
  huart1.Init.StopBits = UART_STOPBITS_1;
  huart1.Init.Parity = UART_PARITY_NONE;
  huart1.Init.Mode = UART_MODE_TX_RX;
  huart1.Init.HwFlowCtl = UART_HWCONTROL_NONE;
  huart1.Init.OverSampling = UART_OVERSAMPLING_16;
  if (HAL_UART_Init(&huart1) != HAL_OK)
  {
    Error_Handler();
  }

}

static void MX_USART2_UART_Init(void)
{

  huart2.Instance = USART2;
  huart2.Init.BaudRate = 115200;
  huart2.Init.WordLength = UART_WORDLENGTH_8B;
  huart2.Init.StopBits = UART_STOPBITS_1;
  huart2.Init.Parity = UART_PARITY_NONE;
  huart2.Init.Mode = UART_MODE_TX_RX;
  huart2.Init.HwFlowCtl = UART_HWCONTROL_NONE;
  huart2.Init.OverSampling = UART_OVERSAMPLING_16;
  if (HAL_UART_Init(&huart2) != HAL_OK)
  {
    Error_Handler();
  }

}

static void MX_GPIO_Init(void)
{
  GPIO_InitTypeDef GPIO_InitStruct = {0};

  /* GPIO Ports Clock Enable */
  __HAL_RCC_GPIOC_CLK_ENABLE();
  __HAL_RCC_GPIOH_CLK_ENABLE();
  __HAL_RCC_GPIOA_CLK_ENABLE();
  __HAL_RCC_GPIOB_CLK_ENABLE();

  /*Configure GPIO pin Output Level */
  HAL_GPIO_WritePin(LD2_GPIO_Port, LD2_Pin, GPIO_PIN_RESET);

  /*Configure GPIO pin Output Level */
  HAL_GPIO_WritePin(GPIOB, GPIO_PIN_3, GPIO_PIN_RESET);

  /*Configure GPIO pin : B1_Pin */
  GPIO_InitStruct.Pin = B1_Pin;
  GPIO_InitStruct.Mode = GPIO_MODE_IT_FALLING;
  GPIO_InitStruct.Pull = GPIO_NOPULL;
  HAL_GPIO_Init(B1_GPIO_Port, &GPIO_InitStruct);

  /*Configure GPIO pin : LD2_Pin */
  GPIO_InitStruct.Pin = LD2_Pin;
  GPIO_InitStruct.Mode = GPIO_MODE_OUTPUT_PP;
  GPIO_InitStruct.Pull = GPIO_NOPULL;
  GPIO_InitStruct.Speed = GPIO_SPEED_FREQ_LOW;
  HAL_GPIO_Init(LD2_GPIO_Port, &GPIO_InitStruct);

  /*Configure GPIO pin : PB3 */
  GPIO_InitStruct.Pin = GPIO_PIN_3;
  GPIO_InitStruct.Mode = GPIO_MODE_OUTPUT_PP;
  GPIO_InitStruct.Pull = GPIO_NOPULL;
  GPIO_InitStruct.Speed = GPIO_SPEED_FREQ_LOW;
  HAL_GPIO_Init(GPIOB, &GPIO_InitStruct);

}

void Error_Handler(void)
{
  __disable_irq();
  while (1)
  {
  }
}
